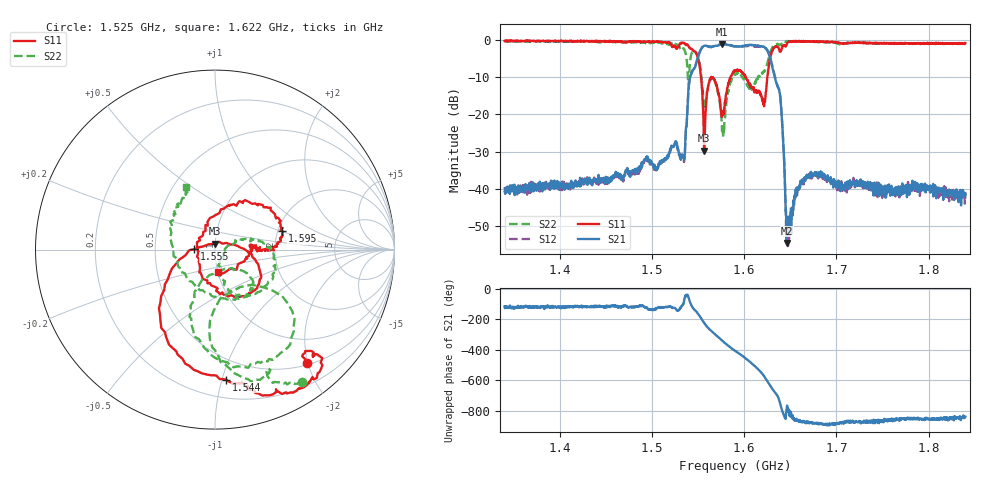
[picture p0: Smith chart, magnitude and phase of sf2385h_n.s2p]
!Agilent Technologies,E5071C,MY46104097,A.08.12
!Date: Sat Dec 01 15:34:54 2018
!Data & Calibration Information:
!Freq	S11:SOLT2(ON)	S21:SOLT2(ON)	S12:SOLT2(ON)	S22:SOLT2(ON)
# Hz S RI R 50
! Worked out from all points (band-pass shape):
!   1601 points, 1.34 GHz to 1.84 GHz, reference 50 ohm
!   highest |S21| = -1.12 dB at 1.576 GHz (marker M1); lowest = -54.5 dB at 1.646 GHz (marker M2)
!   |S21| within 3 dB of the highest: 1.551 GHz to 1.627 GHz (76.43 MHz wide, 4.81 % of centre)
!   lowest |S11| = -29.8 dB at 1.557 GHz (marker M3), VSWR 1.07, Z = 49.6 + j3.22 ohm
!   |S11| at or under -10 dB: 1.553 GHz to 1.564 GHz (11.21 MHz wide, 0.719 % of centre); 1.565 GHz to 1.585 GHz (20.39 MHz wide, 1.29 % of centre); 1.601 GHz to 1.625 GHz (23.59 MHz wide, 1.46 % of centre)
!   |S22| runs from -26.2 to -0.3 dB; largest |S21 - S12| = 0.041
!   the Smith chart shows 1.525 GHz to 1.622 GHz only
!   S11 on the Smith chart (normalised r, x): 1.525 GHz: 0.53, -1.99; 1.544 GHz: 0.34, -1.03; 1.555 GHz: 0.79, +0.00; 1.595 GHz: 2.12, +0.51; 1.622 GHz: 1.00, -0.26
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1.34e9  0.95 -0.1749  -0.00395 -0.00827  -0.00442 -0.00961  0.941 -0.2291
1.423438e9  0.9238 -0.2562  -0.00404 -0.0112  -0.0061 -0.0117  0.8884 -0.3096
1.506875e9  0.7645 -0.5619  -0.0112 -0.0184  -0.0103 -0.0167  0.7127 -0.5991
1.525312e9  0.5148 -0.6307  -0.0254 -0.0327  -0.0266 -0.0345  0.4835 -0.74
1.53375e9  0.468 -0.7755  -0.0038 -0.027  -0.00494 -0.0251  0.265 -0.7134
1.54e9  0.1892 -0.7787  0.106 -0.2274  0.1149 -0.2197  0.2054 -0.1958
1.544062e9  0.0633 -0.7239  -0.2035 -0.3231  -0.2025 -0.3392  0.3618 -0.579
1.550938e9  -0.3041 -0.3932  -0.6345 -0.0894  -0.6492 -0.0875  -0.0732 -0.5236
1.555312e9  -0.1168 0.0017  -0.6876 0.4328  -0.6835 0.4439  -0.0727 -0.1694
1.556562e9  -0.00272 0.0324  -0.6057 0.5698  -0.5997 0.5795  0.0114 -0.1218
1.565e9  0.2118 -0.2322  0.1301 0.7967  0.1323 0.7988  0.1956 -0.2455
1.57625e9  -0.0959 0.000208  0.8265 0.2993  0.8356 0.3001  0.0307 -0.0622
1.59e9  0.3215 0.2102  0.5742 -0.5804  0.5602 -0.6024  0.3344 -0.079
1.595e9  0.376 0.1025  0.3329 -0.7457  0.305 -0.7464  0.2691 -0.2079
1.607188e9  0.2351 -0.00999  -0.4693 -0.7153  -0.4593 -0.6843  -0.19 -0.1189
1.621562e9  0.0167 -0.1269  -0.6852 0.4184  -0.6892 0.3862  -0.161 0.3487
1.628438e9  -0.4522 0.377  0.0653 0.5387  0.0574 0.5686  -0.218 0.6391
1.638438e9  0.1837 0.68  0.1862 -0.0615  0.19 -0.0668  0.2714 0.8137
1.645938e9  0.2905 0.8121  0.000653 -0.00176  0.00107 -0.00349  0.494 0.8123
1.673438e9  0.7706 0.5547  -0.0137 -0.00654  -0.0125 -0.00331  0.7793 0.5234
1.756875e9  0.8557 0.2817  -0.00765 -0.00593  -0.00834 -0.00746  0.8599 0.2605
1.84e9  0.8725 0.2295  -0.00379 -0.00755  -0.0025 -0.00866  0.8642 0.1994
